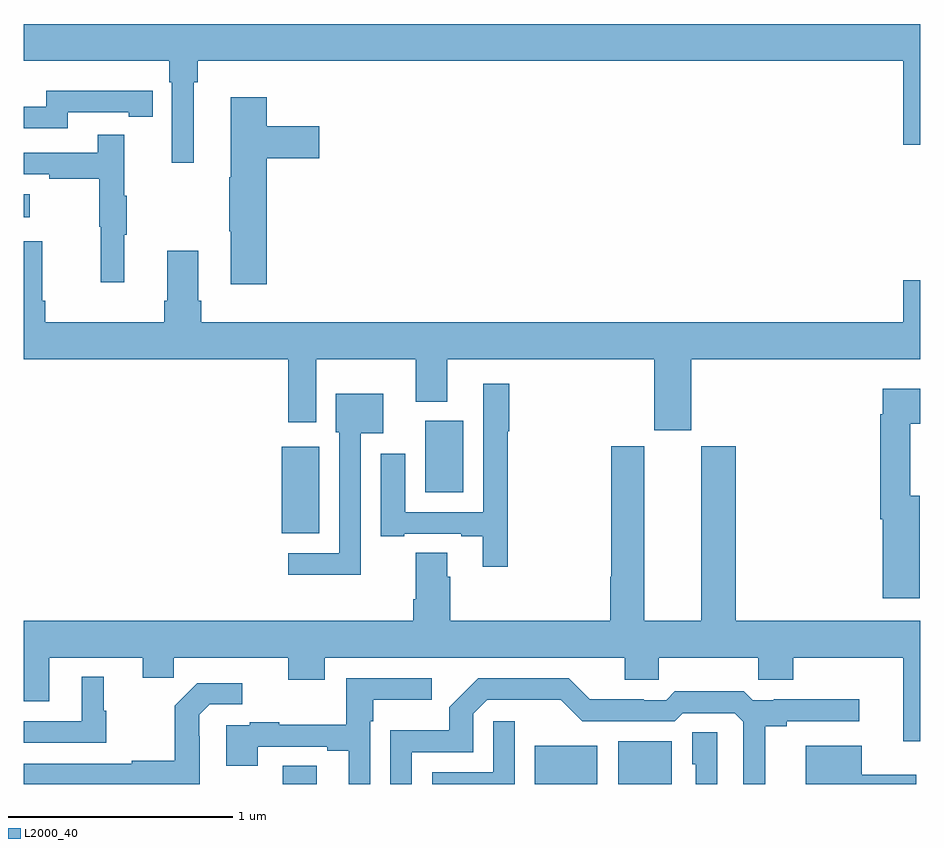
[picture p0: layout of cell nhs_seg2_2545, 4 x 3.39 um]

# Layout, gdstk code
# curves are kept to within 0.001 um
import gdstk
lib = gdstk.Library(unit=1e-6, precision=1e-09)
def R(c, l, rs):  # rectangles x0, y0, x1, y1
    for r in rs: c.add(gdstk.rectangle(r[:2], r[2:], *l))
def P(c, l, *ps):  # polygons
    for p in ps: c.add(gdstk.Polygon(p, *l))
L2000_40 = (2000, 40)

nhs_seg2_2545 = lib.new_cell('nhs_seg2_2545')
R(nhs_seg2_2545, L2000_40, [(246.155,585.8,246.307,585.881), (247.28,585.8,247.558,585.97), (247.652,585.8,247.891,585.991), (246.152,586.919,246.319,587.305), (246.791,587.102,246.961,587.422), (245,588.329,245.026,588.433)])
P(nhs_seg2_2545, L2000_40, [(245.758,588.932),(245.777,588.932),(245.777,589.028),(248.924,589.028),(248.924,588.654),(249,588.654),(249,589.192),(245,589.192),(245,589.028),(245.648,589.028),(245.648,588.932),(245.661,588.932),(245.661,588.573),(245.758,588.573)],
  [(245.196,588.798),(245.468,588.798),(245.468,588.778),(245.576,588.778),(245.576,588.894),(245.468,588.894),(245.468,588.895),(245.1,588.895),(245.1,588.822),(245,588.822),(245,588.726),(245.196,588.726)],
  [(246.083,588.593),(246.319,588.593),(246.319,588.735),(246.083,588.735),(246.083,588.865),(245.924,588.865),(245.924,588.509),(245.917,588.509),(245.917,588.268),(245.924,588.268),(245.924,588.03),(246.083,588.03)],
  [(245.447,588.251),(245.458,588.251),(245.458,588.425),(245.447,588.425),(245.447,588.697),(245.329,588.697),(245.329,588.618),(245,588.618),(245,588.522),(245.113,588.522),(245.113,588.502),(245.337,588.502),(245.337,588.288),(245.344,588.288),(245.344,588.039),(245.447,588.039)],
  [(247.978,587.696),(249,587.696),(249,588.049),(248.924,588.049),(248.924,587.86),(245.792,587.86),(245.792,587.956),(245.779,587.956),(245.779,588.181),(245.639,588.181),(245.639,587.956),(245.627,587.956),(245.627,587.86),(245.096,587.86),(245.096,587.956),(245.083,587.956),(245.083,588.223),(245,588.223),(245,587.696),(246.179,587.696),(246.179,587.415),(246.304,587.415),(246.304,587.696),(246.749,587.696),(246.749,587.507),(246.889,587.507),(246.889,587.696),(247.814,587.696),(247.814,587.379),(247.978,587.379)],
  [(247.159,587.374),(247.166,587.374),(247.166,587.587),(247.05,587.587),(247.05,587.013),(246.703,587.013),(246.703,587.275),(246.593,587.275),(246.593,586.905),(246.697,586.905),(246.697,586.917),(246.953,586.917),(246.953,586.905),(247.049,586.905),(247.049,586.77),(247.159,586.77)],
  [(248.998,587.086),(248.956,587.086),(248.956,587.407),(249,587.407),(249,587.563),(248.834,587.563),(248.834,587.45),(248.822,587.45),(248.822,586.982),(248.834,586.982),(248.834,586.629),(248.998,586.629)],
  [(246.504,587.366),(246.604,587.366),(246.604,587.542),(246.392,587.542),(246.392,587.37),(246.408,587.37),(246.408,586.83),(246.18,586.83),(246.18,586.733),(246.504,586.733)],
  [(249,586.528),(248.177,586.528),(248.177,587.307),(248.024,587.307),(248.024,586.528),(247.768,586.528),(247.768,587.307),(247.621,587.307),(247.621,586.724),(247.616,586.724),(247.616,586.528),(246.902,586.528),(246.902,586.724),(246.889,586.724),(246.889,586.832),(246.749,586.832),(246.749,586.624),(246.737,586.624),(246.737,586.528),(245,586.528),(245,586.17),(245.113,586.17),(245.113,586.364),(245.531,586.364),(245.531,586.274),(245.669,586.274),(245.669,586.364),(246.179,586.364),(246.179,586.265),(246.343,586.265),(246.343,586.364),(247.682,586.364),(247.682,586.266),(247.833,586.266),(247.833,586.364),(248.278,586.364),(248.278,586.266),(248.433,586.266),(248.433,586.364),(248.924,586.364),(248.924,585.99),(249,585.99)],
  [(245.368,586.128),(245.356,586.128),(245.356,586.279),(245.258,586.279),(245.258,586.08),(245,586.08),(245,585.984),(245.368,585.984)],
  [(246.732,585.942),(247.005,585.942),(247.005,586.113),(247.068,586.176),(247.397,586.175),(247.491,586.08),(247.905,586.08),(247.941,586.116),(248.172,586.116),(248.211,586.077),(248.211,585.8),(248.309,585.8),(248.309,586.058),(248.404,586.058),(248.404,586.08),(248.728,586.08),(248.728,586.178),(248.347,586.178),(248.347,586.173),(248.253,586.173),(248.213,586.213),(247.906,586.213),(247.866,586.173),(247.766,586.173),(247.766,586.178),(247.526,586.178),(247.431,586.272),(247.028,586.272),(246.898,586.142),(246.898,586.039),(246.636,586.039),(246.636,585.8),(246.732,585.8)],
  [(246.546,586.079),(246.559,586.079),(246.559,586.175),(246.82,586.175),(246.82,586.272),(246.438,586.272),(246.438,586.064),(246.139,586.064),(246.139,586.075),(246.007,586.075),(246.007,586.062),(245.903,586.062),(245.903,585.882),(246.043,585.882),(246.043,585.966),(246.353,585.966),(246.353,585.948),(246.449,585.948),(246.449,585.8),(246.546,585.8)],
  [(245.784,586.013),(245.782,586.013),(245.782,586.108),(245.829,586.155),(245.974,586.155),(245.974,586.249),(245.773,586.249),(245.673,586.149),(245.673,585.904),(245.481,585.904),(245.481,585.891),(245,585.891),(245,585.8),(245.784,585.8)],
  [(247.191,586.081),(247.095,586.081),(247.095,585.852),(246.822,585.852),(246.822,585.8),(247.191,585.8)],
  [(248.094,586.031),(247.982,586.031),(247.982,585.888),(247.998,585.888),(247.998,585.8),(248.094,585.8)],
  [(248.983,585.841),(248.74,585.841),(248.74,585.97),(248.489,585.97),(248.489,585.8),(248.983,585.8)])

lib.write_gds('nhs_seg2_2545.gds')
